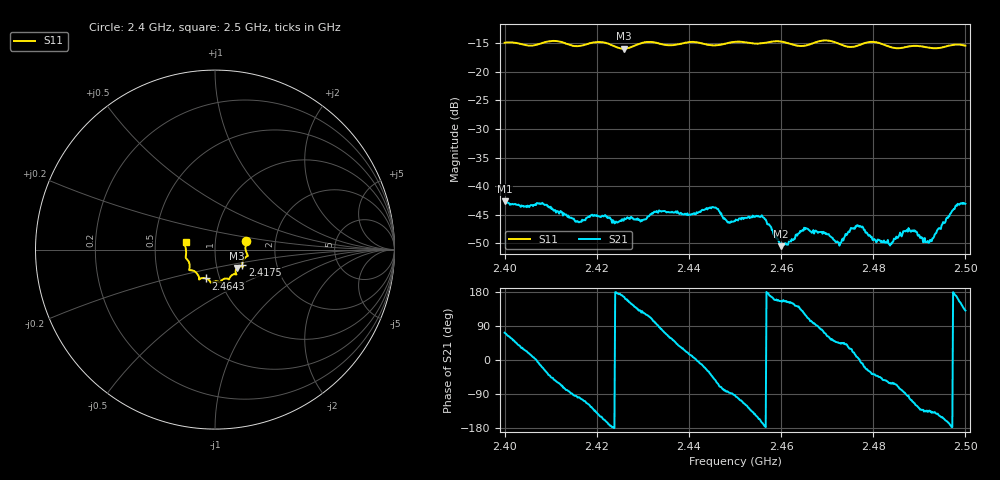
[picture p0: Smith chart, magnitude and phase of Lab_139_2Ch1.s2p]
# Hz S RI R 50
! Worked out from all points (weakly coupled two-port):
!   601 points, 2.4 GHz to 2.5 GHz, reference 50 ohm
!   highest |S21| = -42.69 dB at 2.4 GHz (marker M1); lowest = -50.5 dB at 2.46 GHz (marker M2)
!   lowest |S11| = -15.9 dB at 2.4258 GHz (marker M3), VSWR 1.38, Z = 62.3 - j13.2 ohm
!   |S11| at or under -10 dB: start of sweep to end of sweep
!   S12 and S22 are empty: the file has one direction only
!   S11 on the Smith chart (normalised r, x): 2.4 GHz: 1.41, +0.14; 2.4175 GHz: 1.34, -0.23; 2.4643 GHz: 0.86, -0.29; 2.5 GHz: 0.72, +0.06
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2.4e9  0.1732 0.0491  0.00226 0.00698  0 0  0 0
2.408667e9  0.1799 -0.026  0.00611 -0.00303  0 0  0 0
2.416667e9  0.1529 -0.0738  -0.00111 -0.00473  0 0  0 0
2.4175e9  0.1519 -0.0834  -0.00164 -0.00473  0 0  0 0
2.425833e9  0.122 -0.103  -0.00485 0.00113  0 0  0 0
2.433333e9  0.1138 -0.1368  -0.000111 0.00584  0 0  0 0
2.440333e9  0.0788 -0.1649  0.00545 0.0013  0 0  0 0
2.4455e9  0.0516 -0.1625  0.00412 -0.00499  0 0  0 0
2.4485e9  0.0332 -0.176  0.000523 -0.00476  0 0  0 0
2.45e9  0.0291 -0.1813  -0.00022 -0.00493  0 0  0 0
2.456167e9  -0.00765 -0.1784  -0.00522 -0.000943  0 0  0 0
2.46e9  -0.0245 -0.183  -0.00271 0.00122  0 0  0 0
2.464333e9  -0.05 -0.1608  -0.00272 0.00294  0 0  0 0
2.466667e9  -0.0763 -0.1593  -0.000768 0.00382  0 0  0 0
2.4725e9  -0.0895 -0.1523  0.00226 0.00228  0 0  0 0
2.476833e9  -0.1253 -0.1162  0.00445 0.000237  0 0  0 0
2.480333e9  -0.144 -0.1123  0.00268 -0.0021  0 0  0 0
2.483333e9  -0.1409 -0.0897  0.00157 -0.00271  0 0  0 0
2.4875e9  -0.158 -0.0522  -0.000382 -0.00397  0 0  0 0
2.492167e9  -0.1612 -0.0235  -0.0022 -0.00233  0 0  0 0
2.497833e9  -0.1705 0.0322  -0.00659 0.00109  0 0  0 0
2.5e9  -0.1641 0.043  -0.00455 0.00531  0 0  0 0
